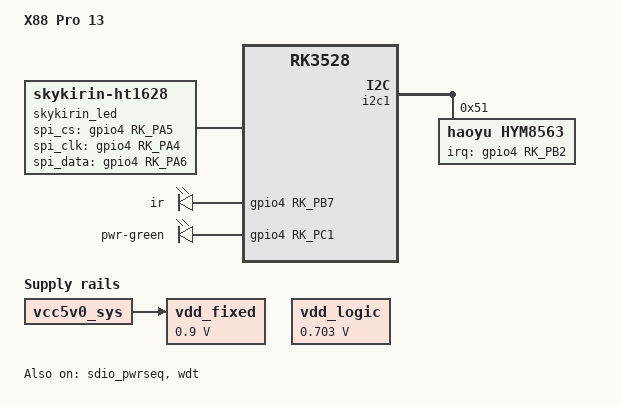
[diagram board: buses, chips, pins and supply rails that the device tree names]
/dts-v1/;

/*
 * Written by tools/dtcx/upstream.py from board.dts: a view, not edited.
 * Over rockchip-linux/kernel at 77168c8d5ab8.
 */

#include "rk3528-evb1-ddr4-v10.dts"
#include <dt-bindings/clock/rk3528-cru.h>
#include <dt-bindings/gpio/gpio.h>
#include <dt-bindings/pinctrl/rockchip.h>
#include <dt-bindings/input/linux-event-codes.h>
#include <dt-bindings/suspend/rockchip-rk3528.h>

/ {
	compatible = "rockchip,rk3528-hugsun-x88pro-ddr4-v10", "rockchip,rk3528";
	model = "X88 Pro 13";

	vdd_fixed: vdd-fixed {
		compatible = "regulator-fixed";
		regulator-name = "vdd_fixed";
		regulator-min-microvolt = <900000>;
		regulator-max-microvolt = <900000>;
		regulator-always-on;
		regulator-boot-on;
		vin-supply = <&vcc5v0_sys>;
	};

	seekwcn_boot: seekwcn_boot {
		compatible = "seekwave,sv6160";
		dma_type = <0x01>;
		status = "okay";
	};

	skykirin_led {
		compatible = "skykirin-ht1628";
		spi_cs = <&gpio4 RK_PA5 GPIO_ACTIVE_HIGH>;
		spi_clk = <&gpio4 RK_PA4 GPIO_ACTIVE_HIGH>;
		spi_data = <&gpio4 RK_PA6 GPIO_ACTIVE_HIGH>;
		status = "okay";
	};

	leds: gpio-leds {
		compatible = "gpio-leds";

		ir {
			gpios = <&gpio4 RK_PB7 GPIO_ACTIVE_HIGH>;
			linux,default-trigger = "none";
			default-state = "off";
		};

		pwr-green {
			gpios = <&gpio4 RK_PC1 GPIO_ACTIVE_HIGH>;
			linux,default-trigger = "none";
			default-state = "off";
			retain-state-suspended;
			retain-state-shutdown;
		};
	};

	sky_storage: sky-storage {
		compatible = "rockchip,hgs_vendor_storage";
		status = "okay";
	};
};

&cpu0_opp_table {
	/delete-property/ rockchip,temp-hysteresis;
	/delete-property/ rockchip,low-temp;
	/delete-property/ rockchip,low-temp-min-volt;
	rockchip,pvtm-voltage-sel = <0 1320 0>, <1321 1350 1>, <1351 1375 2>, <1376 1405 3>,
	                            <1406 1435 4>, <1436 1470 5>, <1471 1505 6>,
	                            <1506 1540 7>, <1541 1575 8>, <1576 1610 9>,
	                            <1611 1640 10>, <1641 9999 11>;
};

&dmc {
	status = "disabled";
};

&dmc_opp_table {
	rockchip,leakage-voltage-sel = <1 10 0>, <11 14 1>, <15 22 2>, <23 28 3>,
	                               <29 254 4>;
	/delete-node/ opp-324000000;
	/delete-node/ opp-666000000;
};

&gmac1 {
	status = "disabled";
};

&gpu {
	/* Lima names the GPU interrupts and clocks by function. */
	interrupt-names = "gp", "gpmmu", "pp", "pp0", "ppmmu0", "pp1", "ppmmu1";
	clocks = <&cru ACLK_GPU_MALI>, <&scmi_clk SCMI_CLK_GPU>;
	clock-names = "bus", "core";
	mali-supply = <&vdd_fixed>;
};

&gpu_bus {
	status = "disabled";
};

&gpu_bus_opp_table {
	rockchip,leakage-voltage-sel = <1 22 0>, <23 254 1>;
};

&gpu_opp_table {
	/delete-property/ rockchip,temp-hysteresis;
	/delete-property/ rockchip,low-temp;
	/delete-property/ rockchip,low-temp-min-volt;
	rockchip,pvtm-voltage-sel = <0 750 0>, <751 770 1>, <771 790 2>, <791 810 3>,
	                            <811 830 4>, <831 850 5>, <851 870 6>, <871 890 7>,
	                            <891 9999 8>;
};

&gpu_power_model {
	ls = <0xffffc2d6 0x1071a 0x00>;
	ts = <0x302a42 0x1d55a 0xfffff636 0x27>;
};

&hdmi {
	/delete-property/ rockchip,cts-manual;
};

&i2c1 {
	i2c-scl-rising-time-ns = <100>;
	i2c-scl-falling-time-ns = <30>;
	status = "okay";

	hym8563: hym8563@51 {
		compatible = "haoyu,hym8563";
		reg = <0x51>;
		pinctrl-names = "default";
		pinctrl-0 = <&rtc_irq>;
		irq_gpio = <&gpio4 RK_PB2 2>;
		status = "okay";
	};
};

&i2c6 {
	status = "disabled";
};

&mpp_srv {
	/delete-property/ rockchip,iommu-shared-mask;
};

&pinctrl {
	/delete-node/ sdio-pwrseq;

	wireless-wlan {
		wifi_enable_h: wifi-enable-h {
			rockchip,pins = <1 RK_PA6 RK_FUNC_GPIO &pcfg_pull_none>;
		};
	};

	hym8563-irq {
		rtc_irq: rtc-irq {
			rockchip,pins = <4 RK_PB2 RK_FUNC_GPIO &pcfg_pull_none>;
		};
	};
};

&pwm0 {
	status = "disabled";
};

&pwm1 {
	/delete-property/ interrupts;
};

&pwm2 {
	/delete-property/ interrupts;
};

&pwm3 {
	/delete-node/ ir_key1;
	/delete-node/ ir_key2;
	/delete-node/ ir_key3;
	/delete-node/ ir_key7;
	/delete-node/ ir_key8;
	/delete-node/ ir_key9;

	ir_key4 {
		rockchip,usercode = <0xf709>;
		rockchip,key_table = <0xf5 KEY_POWER>, <0xdd KEY_MICMUTE>, <0xff KEY_UP>,
		                     <0xfe KEY_DOWN>, <0xfd KEY_RIGHT>, <0xfc KEY_LEFT>,
		                     <0xe0 KEY_REPLY>, <0xf3 KEY_HOME>, <0xb5 KEY_TEXT>,
		                     <0xe3 KEY_BACK>, <0xa7 KEY_VOLUMEUP>,
		                     <0xa2 KEY_VOLUMEDOWN>, <0xe5 KEY_MENU>,
		                     <0x7f KEY_SETUP>, <0xe4 KEY_F9>, <0xf2 KEY_MUTE>,
		                     <0xae KEY_PAGEUP>, <0xad KEY_PAGEDOWN>, <0x8d KEY_F5>,
		                     <0x79 KEY_F8>, <0x8c KEY_KP5>, <0x8e KEY_NUMLOCK>;
	};

	ir_key5 {
		rockchip,usercode = <0xf708>;
		rockchip,key_table = <0xf5 KEY_MUTE>, <0xfc KEY_SETUP>, <0xf4 KEY_POWER>,
		                     <0x8c KEY_F13>, <0x8b KEY_F14>, <0x8a KEY_F15>,
		                     <0x89 KEY_F16>, <0xfa KEY_F17>, <0xbd KEY_HOME>,
		                     <0xed KEY_UP>, <0xea KEY_LEFT>, <0xe1 KEY_REPLY>,
		                     <0xeb KEY_RIGHT>, <0xbe KEY_BACK>, <0xec KEY_DOWN>,
		                     <0xe8 KEY_MENU>, <0xf1 KEY_VOLUMEUP>,
		                     <0xef KEY_PAGEUP>, <0xe3 KEY_VOLUMEDOWN>,
		                     <0xee KEY_PAGEDOWN>, <0x8f KEY_TEXT>, <0x8e KEY_STOP>;
	};

	ir_key6 {
		rockchip,key_table = <0xec KEY_REPLY>, <0xe6 KEY_BACK>, <0xe9 KEY_UP>,
		                     <0xe5 KEY_DOWN>, <0xae KEY_LEFT>, <0xaf KEY_RIGHT>,
		                     <0xee KEY_HOME>, <0xe7 KEY_VOLUMEUP>,
		                     <0xef KEY_VOLUMEDOWN>, <0xbf KEY_POWER>,
		                     <0xbe KEY_MUTE>, <0xb3 KEY_MENU>, <0xff KEY_TEXT>,
		                     <0xb1 KEY_1>, <0xf2 KEY_2>, <0xf3 KEY_3>, <0xb5 KEY_4>,
		                     <0xf6 KEY_5>, <0xf7 KEY_6>, <0xb9 KEY_7>, <0xfa KEY_8>,
		                     <0xfb KEY_9>, <0xfe KEY_0>, <0xf0 KEY_F8>,
		                     <0x8e KEY_F2>, <0x79 KEY_F4>, <0x8d KEY_NUMLOCK>,
		                     <0xbd KEY_BACKSPACE>, <0xbc KEY_SETUP>, <0xe4 KEY_F14>;
	};

	ir_key12 {
		rockchip,usercode = <0x7f80>;
		rockchip,key_table = <0xec KEY_REPLY>, <0xd8 KEY_BACK>, <0xc7 KEY_UP>,
		                     <0xbf KEY_DOWN>, <0xc8 KEY_LEFT>, <0xc6 KEY_RIGHT>,
		                     <0x8c KEY_HOME>, <0x78 KEY_VOLUMEUP>,
		                     <0x76 KEY_VOLUMEDOWN>, <0x7e KEY_POWER>,
		                     <0xed KEY_POWER>, <0x7c KEY_MENU>, <0xb7 KEY_TEXT>;
	};

	ir_key13 {
		rockchip,usercode = <0x4040>;
		rockchip,key_table = <0xe5 KEY_HOME>, <0xbd KEY_BACK>, <0xba KEY_MENU>,
		                     <0xf2 KEY_REPLY>, <0xf4 KEY_UP>, <0xf1 KEY_DOWN>,
		                     <0xef KEY_LEFT>, <0xee KEY_RIGHT>,
		                     <0xe3 KEY_VOLUMEDOWN>, <0xea KEY_VOLUMEUP>,
		                     <0xe8 KEY_VOLUMEDOWN>, <0xe7 KEY_VOLUMEUP>,
		                     <0xbc KEY_MUTE>, <0xb2 KEY_POWER>, <0x4d KEY_POWER>,
		                     <0xb8 KEY_TEXT>, <0xbb KEY_TEXT>, <0xac KEY_F13>,
		                     <0xa4 KEY_F14>, <0xa8 KEY_F15>, <0xab KEY_F16>,
		                     <0xe0 KEY_HANJA>, <0xe1 0x7a>, <0xfe KEY_1>,
		                     <0xfd KEY_2>, <0xfc KEY_3>, <0xfb KEY_4>, <0xfa KEY_5>,
		                     <0xf9 KEY_6>, <0xf8 KEY_7>, <0xf7 KEY_8>, <0xf6 KEY_9>,
		                     <0xff KEY_0>, <0xf0 KEY_SPACE>, <0xf3 KEY_BACKSPACE>;
	};

	ir_key14 {
		rockchip,usercode = <0x707>;
		rockchip,key_table = <0xfd KEY_POWER>, <0xc1 KEY_PLAYPAUSE>,
		                     <0xec KEY_TEXT>, <0x9f KEY_UP>, <0x9a KEY_LEFT>,
		                     <0x97 KEY_REPLY>, <0x9d KEY_RIGHT>, <0x9e KEY_DOWN>,
		                     <0xd2 KEY_HOME>, <0xe5 KEY_MENU>, <0xed KEY_REWIND>,
		                     <0xef KEY_FASTFORWARD>, <0x77 KEY_SEND>,
		                     <0xf8 KEY_VOLUMEUP>, <0xf4 KEY_VOLUMEDOWN>,
		                     <0xa3 KEY_BACKSPACE>, <0xf0 KEY_MUTE>;
	};

	ir_key15 {
		rockchip,usercode = <0xdf00>;
		rockchip,key_table = <0xe3 KEY_POWER>, <0xb4 KEY_F5>, <0xfe KEY_F9>,
		                     <0xa2 KEY_VOLUMEUP>, <0xb0 KEY_F8>, <0xa0 KEY_F10>,
		                     <0xa3 KEY_VOLUMEDOWN>, <0xbd KEY_HOME>,
		                     <0xf5 KEY_BACK>, <0xe5 KEY_UP>, <0xb8 KEY_LEFT>,
		                     <0xf9 KEY_REPLY>, <0xf8 KEY_RIGHT>, <0xb7 KEY_DOWN>,
		                     <0xfc KEY_TEXT>, <0xe7 KEY_MENU>, <0xab KEY_1>,
		                     <0xe9 KEY_2>, <0xea KEY_3>, <0xaf KEY_4>, <0xed KEY_5>,
		                     <0xee KEY_6>, <0xb3 KEY_7>, <0xf1 KEY_8>, <0xf2 KEY_9>,
		                     <0xbe KEY_SWITCHVIDEOMODE>, <0xf3 KEY_0>,
		                     <0xef KEY_BACKSPACE>, <0x1c KEY_POWER>, <0x1a KEY_UP>,
		                     <0x47 KEY_LEFT>, <0x06 KEY_REPLY>, <0x07 KEY_RIGHT>,
		                     <0x48 KEY_DOWN>, <0x42 KEY_HOME>, <0x18 KEY_MENU>,
		                     <0x5c KEY_VOLUMEDOWN>, <0x5d KEY_VOLUMEUP>;
	};

	ir_key16 {
		rockchip,usercode = <0x807f>;
		rockchip,key_table = <0x7e KEY_POWER>;
	};

	ir_key17 {
		rockchip,usercode = <0xfd02>;
		rockchip,key_table = <0xf2 KEY_REPLY>, <0xec KEY_BACK>, <0xf6 KEY_UP>,
		                     <0xee KEY_DOWN>, <0xf5 KEY_LEFT>, <0xf1 KEY_RIGHT>,
		                     <0xef KEY_HOME>, <0xf8 KEY_VOLUMEUP>,
		                     <0xf9 KEY_VOLUMEDOWN>, <0xf7 KEY_POWER>,
		                     <0xf4 KEY_MUTE>, <0xf3 KEY_MENU>, <0xbf KEY_TEXT>,
		                     <0xeb KEY_1>, <0xea KEY_2>, <0xe9 KEY_3>, <0xe7 KEY_4>,
		                     <0xe6 KEY_5>, <0xe5 KEY_6>, <0xe3 KEY_7>, <0xe2 KEY_8>,
		                     <0xe1 KEY_9>, <0xbe KEY_0>, <0xbd KEY_BACKSPACE>,
		                     <0xe4 KEY_F9>, <0xd4 KEY_F10>, <0xf0 KEY_F8>,
		                     <0xfb 0x7a>, <0xfa KEY_HANJA>, <0xff KEY_F13>,
		                     <0xfe KEY_F14>, <0xfd KEY_F15>, <0xfc KEY_F16>;
	};

	ir_key18 {
		rockchip,usercode = <0xef10>;
		rockchip,key_table = <0xa2 KEY_POWER>, <0xe8 KEY_VOLUMEUP>,
		                     <0xec KEY_VOLUMEDOWN>, <0xa6 KEY_SETUP>,
		                     <0xa5 KEY_TEXT>, <0xff KEY_BACK>, <0xba KEY_UP>,
		                     <0xf8 KEY_LEFT>, <0xbe KEY_REPLY>, <0xfe KEY_RIGHT>,
		                     <0xaa KEY_DOWN>, <0xb9 KEY_HOME>, <0xfa KEY_MENU>,
		                     <0xe5 KEY_REWIND>, <0xa7 KEY_PLAYPAUSE>,
		                     <0xe2 KEY_FASTFORWARD>, <0xa0 KEY_KP6>, <0xb0 KEY_0>,
		                     <0xa1 KEY_BACKSPACE>, <0xaf KEY_1>, <0xad KEY_2>,
		                     <0xef KEY_3>, <0xb3 KEY_4>, <0xb5 KEY_5>, <0xee KEY_6>,
		                     <0xf0 KEY_7>, <0xb1 KEY_8>, <0xf2 KEY_9>;
	};

	ir_key19 {
		rockchip,usercode = <0xdf20>;
		rockchip,key_table = <0xa5 KEY_MENU>;
	};
};

&reboot_mode {
	mode-bootloader = <0x5242c301>;
	mode-charge = <0x5242c30b>;
	mode-fastboot = <0x5242c309>;
	mode-loader = <0x5242c301>;
	mode-normal = <0x5242c300>;
	mode-recovery = <0x5242c303>;
	mode-ums = <0x5242c30c>;
	mode-panic = <0x5242c307>;
	mode-watchdog = <0x5242c308>;
};

&rkvtunnel {
	status = "disabled";
};

&rmii0_phy {
	/delete-property/ pinctrl-names;
	/delete-property/ pinctrl-0;
	/delete-property/ rockchip,thermal-zone;
};

&rockchip_suspend {
	rockchip,sleep-mode-config = <RKPM_SLP_ARMPD>;
	rockchip,wakeup-config = <(RKPM_CPU0_WKUP_EN | RKPM_GPIO_WKUP_EN)>;
	rockchip,pwm-regulator-config = <RKPM_PWM1_M0_REGULATOR_EN>;
};

&route_hdmi {
	logo,mode = "fullscreen";
	charge_logo,mode = "fullscreen";
};

&sai1 {
	status = "disabled";
};

&sai3 {
	/delete-property/ assigned-clocks;
	/delete-property/ assigned-clock-rates;
	/delete-property/ rockchip,always-on;
};

&sdhci {
	/delete-property/ no-sd;
	/delete-property/ no-sdio;
	/delete-property/ mmc-hs400-1_8v;
	/delete-property/ mmc-hs400-enhanced-strobe;
	max-frequency = <150000000>;
	supports-emmc;
	cap-mmc-highspeed;
	mmc-hs200-1_8v;
	fixed-emmc-driver-type = <0x04>;
};

&sdio0 {
	max-frequency = <150000000>;
};

&sdio_pwrseq {
	/delete-property/ post-power-on-delay-ms;
	/delete-property/ reset-gpios;
	status = "okay";
};

&sfc {
	status = "disabled";
};

&tve {
	rockchip,tve-upsample = <0x02>;
};

&u2phy_otg {
	/delete-property/ vbus-supply;
	phy-supply = <&vcc5v0_host>;
};

&usbdrd_dwc3 {
	snps,xhci-trb-ent-quirk;
};

&vcc5v0_host {
	gpio = <&gpio4 RK_PB4 GPIO_ACTIVE_HIGH>;
};

&vcc5v0_host_en {
	rockchip,pins = <4 RK_PB4 RK_FUNC_GPIO &pcfg_pull_none>;
};

&vcc5v0_otg {
	status = "disabled";
};

&vcc_sd {
	regulator-boot-on;
};

&vdd_gpu {
	status = "disabled";
};

&vdd_logic {
	regulator-min-microvolt = <703000>;
};

&vop {
	esmart_lb_mode = [03];
};

&wdt {
	/* Let the watchdog recover a hung kernel. */
	status = "okay";
};

&wireless_bluetooth {
	/delete-property/ bt_port;
	/delete-property/ BT,wake_gpio;
};

&wireless_wlan {
	wifi_chip_type = [00];
	WIFI,reset_gpio = <&gpio1 RK_PA6 GPIO_ACTIVE_HIGH>;
};
